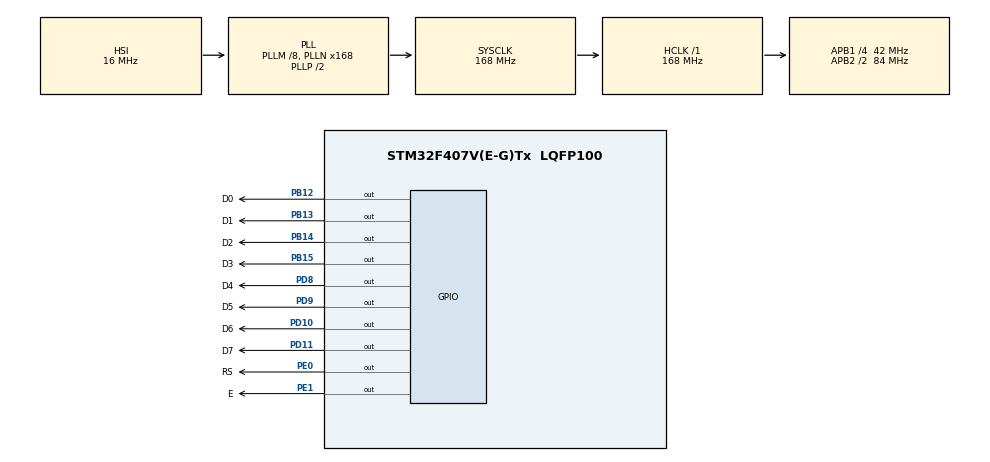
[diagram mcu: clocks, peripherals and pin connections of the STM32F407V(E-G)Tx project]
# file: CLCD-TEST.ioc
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Mcu.Family=STM32F4
RCC.CortexFreq_Value=168000000
PD9.GPIO_Label=D5
PB14.GPIO_Label=D2
PD9.Signal=GPIO_Output
RCC.APB1CLKDivider=RCC_HCLK_DIV4
PB13.GPIO_Label=D1
PB15.Signal=GPIO_Output
PB13.Signal=GPIO_Output
RCC.SYSCLKSource=RCC_SYSCLKSOURCE_PLLCLK
ProjectManager.StackSize=0x400
PD8.GPIO_Label=D4
PD10.Signal=GPIO_Output
ProjectManager.TargetToolchain=STM32CubeIDE
PD11.GPIO_Label=D7
RCC.HCLKFreq_Value=168000000
RCC.APB2TimFreq_Value=168000000
PD8.Signal=GPIO_Output
PD10.GPIO_Label=D6
PE1.Signal=GPIO_Output
RCC.LSE_VALUE=32768
RCC.AHBFreq_Value=168000000
PB14.Signal=GPIO_Output
RCC.HSE_VALUE=25000000
board=custom
RCC.VCOOutputFreq_Value=336000000
PE1.GPIO_Label=E
PB12.GPIO_Label=D0
RCC.APB2Freq_Value=84000000
PB15.GPIO_Label=D3
Mcu.Name=STM32F407V(E-G)Tx
PE0.Signal=GPIO_Output
RCC.48MHZClocksFreq_Value=84000000
RCC.SYSCLKFreq_VALUE=168000000
Mcu.Package=LQFP100
PD11.Signal=GPIO_Output
ProjectManager.HeapSize=0x200
PE0.GPIO_Label=RS
RCC.HSI_VALUE=16000000
NVIC.PriorityGroup=NVIC_PRIORITYGROUP_4
RCC.APB2CLKDivider=RCC_HCLK_DIV2
RCC.PLLM=8
RCC.PLLN=168
RCC.APB1TimFreq_Value=84000000
RCC.APB1Freq_Value=42000000
PB12.Signal=GPIO_Output

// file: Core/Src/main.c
/* USER CODE BEGIN Header */
/**
  ******************************************************************************
  * @file           : main.c
  * @brief          : Main program body
  ******************************************************************************
  * @attention
  *
  * <h2><center>&copy; Copyright (c) 2021 STMicroelectronics.
  * All rights reserved.</center></h2>
  *
  * This software component is licensed by ST under BSD 3-Clause license,
  * the "License"; You may not use this file except in compliance with the
  * License. You may obtain a copy of the License at:
  *                        opensource.org/licenses/BSD-3-Clause
  *
  ******************************************************************************
  */
/* USER CODE END Header */
#include "main.h"
#include "gpio.h"
#include "STM_MY_LCD16X2.h"

/* USER CODE BEGIN Includes */
#include <stdio.h>
#include <string.h>
/* USER CODE END Includes */

void SystemClock_Config(void);

int main(void)
{

  /* MCU Configuration--------------------------------------------------------*/

  /* Reset of all peripherals, Initializes the Flash interface and the Systick. */
     HAL_Init();

  /* Configure the system clock */
  SystemClock_Config();

  /* Initialize all configured peripherals */
  MX_GPIO_Init();
  /* USER CODE BEGIN 2 */
  //LCD1602_Begin8BIT(RS_GPIO_Port, RS_Pin, E_Pin, D0_GPIO_Port, D0_Pin, D1_Pin, D2_Pin, D3_Pin, D4_GPIO_Port, D4_Pin, D5_Pin, D6_Pin, D7_Pin);

  LCD1602_Begin4BIT(RS_GPIO_Port, RS_Pin, E_Pin, D4_GPIO_Port, D4_Pin, D5_Pin, D6_Pin, D7_Pin);
  /* USER CODE END 2 */

  /* Infinite loop */
  /* USER CODE BEGIN WHILE */

  uint8_t nIdx = 0;
  uint8_t cData[16] = "";
  while (1)
  {
	/* USER CODE END WHILE */

    /* USER CODE BEGIN 3 */
	  memset(cData, 0, sizeof(cData));
	  sprintf(cData, "Hello World %d", nIdx++);
	  LCD1602_print(cData);
	  LCD1602_2ndLine();
	  LCD1602_print("IRON BALL !!!");
	  HAL_Delay(5000);
	  LCD1602_clear();
	  LCD1602_PrintInt(12345);
	  HAL_Delay(2000);
	  LCD1602_2ndLine();
	  LCD1602_PrintFloat(3.141952, 5);
	  HAL_Delay(1000);
	  LCD1602_clear();
  }
  /* USER CODE END 3 */
}

void SystemClock_Config(void)
{
  RCC_OscInitTypeDef RCC_OscInitStruct = {0};
  RCC_ClkInitTypeDef RCC_ClkInitStruct = {0};

  /** Configure the main internal regulator output voltage
  */
  __HAL_RCC_PWR_CLK_ENABLE();
  __HAL_PWR_VOLTAGESCALING_CONFIG(PWR_REGULATOR_VOLTAGE_SCALE1);
  /** Initializes the RCC Oscillators according to the specified parameters
  * in the RCC_OscInitTypeDef structure.
  */
  RCC_OscInitStruct.OscillatorType = RCC_OSCILLATORTYPE_HSI;
  RCC_OscInitStruct.HSIState = RCC_HSI_ON;
  RCC_OscInitStruct.HSICalibrationValue = RCC_HSICALIBRATION_DEFAULT;
  RCC_OscInitStruct.PLL.PLLState = RCC_PLL_ON;
  RCC_OscInitStruct.PLL.PLLSource = RCC_PLLSOURCE_HSI;
  RCC_OscInitStruct.PLL.PLLM = 8;
  RCC_OscInitStruct.PLL.PLLN = 168;
  RCC_OscInitStruct.PLL.PLLP = RCC_PLLP_DIV2;
  RCC_OscInitStruct.PLL.PLLQ = 4;
  if (HAL_RCC_OscConfig(&RCC_OscInitStruct) != HAL_OK)
  {
    Error_Handler();
  }
  /** Initializes the CPU, AHB and APB buses clocks
  */
  RCC_ClkInitStruct.ClockType = RCC_CLOCKTYPE_HCLK|RCC_CLOCKTYPE_SYSCLK
                              |RCC_CLOCKTYPE_PCLK1|RCC_CLOCKTYPE_PCLK2;
  RCC_ClkInitStruct.SYSCLKSource = RCC_SYSCLKSOURCE_PLLCLK;
  RCC_ClkInitStruct.AHBCLKDivider = RCC_SYSCLK_DIV1;
  RCC_ClkInitStruct.APB1CLKDivider = RCC_HCLK_DIV4;
  RCC_ClkInitStruct.APB2CLKDivider = RCC_HCLK_DIV2;

  if (HAL_RCC_ClockConfig(&RCC_ClkInitStruct, FLASH_LATENCY_5) != HAL_OK)
  {
    Error_Handler();
  }
}

void Error_Handler(void)
{
  __disable_irq();
  while (1)
  {
  }
}

/************************ (C) COPYRIGHT STMicroelectronics *****END OF FILE****/
